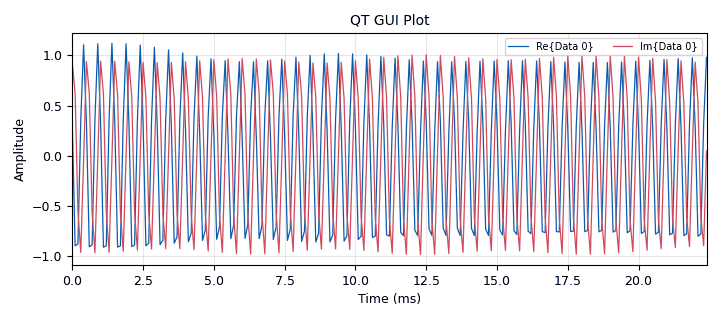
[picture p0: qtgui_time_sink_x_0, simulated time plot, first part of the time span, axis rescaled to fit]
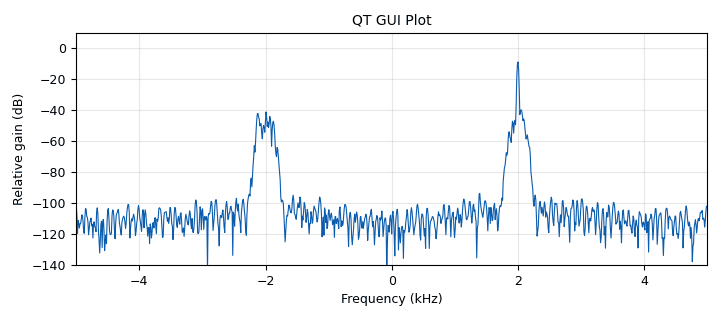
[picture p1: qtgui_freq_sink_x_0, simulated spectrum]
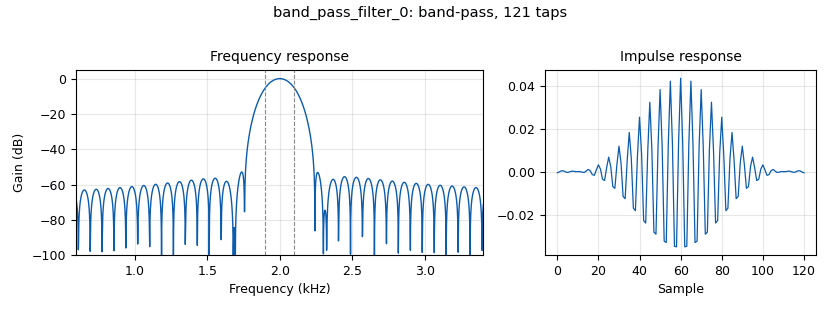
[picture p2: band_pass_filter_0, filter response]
<?xml version='1.0' encoding='utf-8'?>
<flow_graph>
<block>
<key>options</key>
<param><key>id</key><value>tutorial_two_3</value></param>
<param><key>generate_options</key><value>qt_gui</value></param>
<param><key>category</key><value>Custom</value></param>
</block>
<block>
<key>variable</key>
<param><key>id</key><value>freq</value></param>
<param><key>value</key><value>2e3</value></param>
</block>
<block>
<key>variable</key>
<param><key>id</key><value>variable_0</value></param>
<param><key>value</key><value>0</value></param>
</block>
<block>
<key>qtgui_tab_widget</key>
<param><key>id</key><value>tab</value></param>
<param><key>num_tabs</key><value>2</value></param>
<param><key>label0</key><value>Time</value></param>
<param><key>label1</key><value>Freq</value></param>
</block>
<block>
<key>blocks_throttle</key>
<param><key>id</key><value>blocks_throttle_0</value></param>
<param><key>type</key><value>complex</value></param>
<param><key>samples_per_second</key><value>32e3</value></param>
</block>
<block>
<key>variable_qtgui_range</key>
<param><key>id</key><value>samp_rate</value></param>
<param><key>value</key><value>10e3</value></param>
<param><key>start</key><value>1e3</value></param>
<param><key>stop</key><value>40e3</value></param>
<param><key>step</key><value>200</value></param>
<param><key>orient</key><value>Qt.Horizontal</value></param>
</block>
<block>
<key>qtgui_time_sink_x</key>
<param><key>id</key><value>qtgui_time_sink_x_0</value></param>
<param><key>type</key><value>complex</value></param>
<param><key>name</key><value>"QT GUI Plot"</value></param>
<param><key>size</key><value>1024</value></param>
<param><key>srate</key><value>samp_rate</value></param>
<param><key>gui_hint</key><value>tab@0</value></param>
<param><key>label1</key><value></value></param>
<param><key>color1</key><value>"blue"</value></param>
<param><key>label2</key><value></value></param>
<param><key>color2</key><value>"red"</value></param>
</block>
<block>
<key>qtgui_freq_sink_x</key>
<param><key>id</key><value>qtgui_freq_sink_x_0</value></param>
<param><key>type</key><value>complex</value></param>
<param><key>name</key><value>"QT GUI Plot"</value></param>
<param><key>fftsize</key><value>1024</value></param>
<param><key>wintype</key><value>firdes.WIN_BLACKMAN_hARRIS</value></param>
<param><key>fc</key><value>0</value></param>
<param><key>bw</key><value>samp_rate</value></param>
<param><key>gui_hint</key><value>tab@1</value></param>
</block>
<block>
<key>analog_noise_source_x</key>
<param><key>id</key><value>analog_noise_source_x_0</value></param>
<param><key>type</key><value>complex</value></param>
<param><key>noise_type</key><value>analog.GR_GAUSSIAN</value></param>
<param><key>amp</key><value>0.5</value></param>
<param><key>seed</key><value>3426</value></param>
</block>
<block>
<key>analog_sig_source_x</key>
<param><key>id</key><value>analog_sig_source_x_0</value></param>
<param><key>type</key><value>complex</value></param>
<param><key>samp_rate</key><value>samp_rate</value></param>
<param><key>waveform</key><value>analog.GR_SIN_WAVE</value></param>
<param><key>freq</key><value>freq</value></param>
<param><key>amp</key><value>1</value></param>
<param><key>offset</key><value>0</value></param>
</block>
<block>
<key>blocks_add_xx</key>
<param><key>id</key><value>blocks_add_xx_0</value></param>
<param><key>type</key><value>complex</value></param>
</block>
<block>
<key>band_pass_filter</key>
<param><key>id</key><value>band_pass_filter_0</value></param>
<param><key>type</key><value>fir_filter_ccf</value></param>
<param><key>decim</key><value>1</value></param>
<param><key>gain</key><value>1</value></param>
<param><key>samp_rate</key><value>samp_rate</value></param>
<param><key>low_cutoff_freq</key><value>1.9e3</value></param>
<param><key>high_cutoff_freq</key><value>2.1e3</value></param>
<param><key>width</key><value>200</value></param>
<param><key>win</key><value>firdes.WIN_HAMMING</value></param>
</block>
<connection><source_block_id>blocks_add_xx_0</source_block_id><sink_block_id>band_pass_filter_0</sink_block_id><source_key>0</source_key><sink_key>0</sink_key></connection>
<connection><source_block_id>band_pass_filter_0</source_block_id><sink_block_id>blocks_throttle_0</sink_block_id><source_key>0</source_key><sink_key>0</sink_key></connection>
<connection><source_block_id>blocks_throttle_0</source_block_id><sink_block_id>qtgui_freq_sink_x_0</sink_block_id><source_key>0</source_key><sink_key>0</sink_key></connection>
<connection><source_block_id>blocks_throttle_0</source_block_id><sink_block_id>qtgui_time_sink_x_0</sink_block_id><source_key>0</source_key><sink_key>0</sink_key></connection>
<connection><source_block_id>analog_sig_source_x_0</source_block_id><sink_block_id>blocks_add_xx_0</sink_block_id><source_key>0</source_key><sink_key>0</sink_key></connection>
<connection><source_block_id>analog_noise_source_x_0</source_block_id><sink_block_id>blocks_add_xx_0</sink_block_id><source_key>0</source_key><sink_key>1</sink_key></connection>
</flow_graph>
